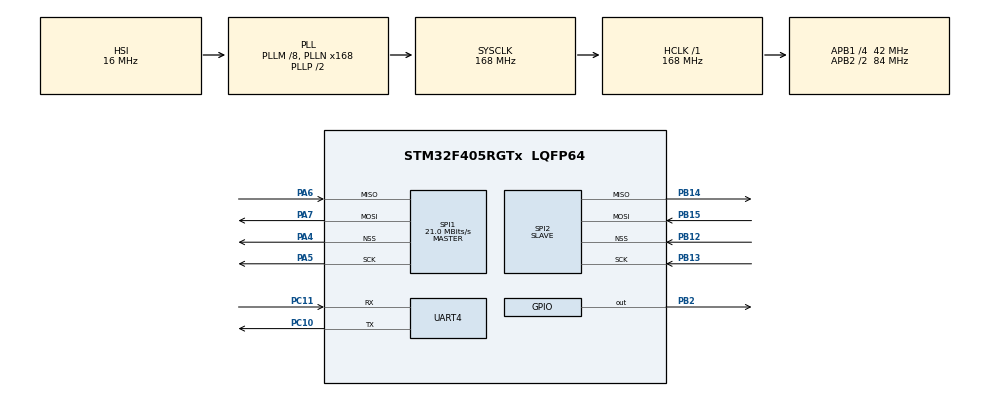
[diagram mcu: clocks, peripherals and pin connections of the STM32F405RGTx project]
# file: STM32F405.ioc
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Mcu.Family=STM32F4
Mcu.Name=STM32F405RGTx
Mcu.Package=LQFP64
NVIC.PriorityGroup=NVIC_PRIORITYGROUP_4
PA4.Mode=NSS_Signal_Hard_Output
PA4.Signal=SPI1_NSS
PA5.Mode=Full_Duplex_Master
PA5.Signal=SPI1_SCK
PA6.Mode=Full_Duplex_Master
PA6.Signal=SPI1_MISO
PA7.Mode=Full_Duplex_Master
PA7.Signal=SPI1_MOSI
PB12.Mode=NSS_Signal_Hard_Input
PB12.Signal=SPI2_NSS
PB13.Mode=Full_Duplex_Slave
PB13.Signal=SPI2_SCK
PB14.Mode=Full_Duplex_Slave
PB14.Signal=SPI2_MISO
PB15.Mode=Full_Duplex_Slave
PB15.Signal=SPI2_MOSI
PB2.Signal=GPIO_Output
PC10.Mode=Asynchronous
PC10.Signal=UART4_TX
PC11.Mode=Asynchronous
PC11.Signal=UART4_RX
PH0-OSC_IN.Mode=HSE-External-Clock-Source
PH0-OSC_IN.Signal=RCC_OSC_IN
PH1-OSC_OUT.Mode=HSE-External-Clock-Source
PH1-OSC_OUT.Signal=RCC_OSC_OUT
ProjectManager.HeapSize=0x200
ProjectManager.StackSize=0x400
ProjectManager.TargetToolchain=STM32CubeIDE
RCC.48MHZClocksFreq_Value=84000000
RCC.AHBFreq_Value=168000000
RCC.APB1CLKDivider=RCC_HCLK_DIV4
RCC.APB1Freq_Value=42000000
RCC.APB1TimFreq_Value=84000000
RCC.APB2CLKDivider=RCC_HCLK_DIV2
RCC.APB2Freq_Value=84000000
RCC.APB2TimFreq_Value=168000000
RCC.CortexFreq_Value=168000000
RCC.HCLKFreq_Value=168000000
RCC.HSE_VALUE=8000000
RCC.HSI_VALUE=16000000
RCC.LSE_VALUE=32768
RCC.PLLM=8
RCC.PLLN=168
RCC.SYSCLKFreq_VALUE=168000000
RCC.SYSCLKSource=RCC_SYSCLKSOURCE_PLLCLK
RCC.VCOOutputFreq_Value=336000000
SPI1.BaudRatePrescaler=SPI_BAUDRATEPRESCALER_4
SPI1.CalculateBaudRate=21.0 MBits/s
SPI1.Direction=SPI_DIRECTION_2LINES
SPI1.Mode=SPI_MODE_MASTER
SPI1.VirtualNSS=VM_NSSHARD
SPI1.VirtualType=VM_MASTER
SPI2.Direction=SPI_DIRECTION_2LINES
SPI2.Mode=SPI_MODE_SLAVE
SPI2.VirtualNSS=VM_NSSHARD
SPI2.VirtualType=VM_SLAVE
UART4.VirtualMode=Asynchronous
board=custom

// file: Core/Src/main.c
/* USER CODE BEGIN Header */
/**
  ******************************************************************************
  * @file           : main.c
  * @brief          : Main program body
  ******************************************************************************
  * @attention
  *
  * Copyright (c) 2026 STMicroelectronics.
  * All rights reserved.
  *
  * This software is licensed under terms that can be found in the LICENSE file
  * in the root directory of this software component.
  * If no LICENSE file comes with this software, it is provided AS-IS.
  *
  ******************************************************************************
  */
/* USER CODE END Header */
#include "main.h"
#include <stdio.h>
#include <string.h>

SPI_HandleTypeDef hspi1;
SPI_HandleTypeDef hspi2;

UART_HandleTypeDef huart4;

/* USER CODE BEGIN PV */
uint8_t rxData[4];
uint8_t txData[4];
char msg[64];
/* USER CODE END PV */

void SystemClock_Config(void);
static void MX_GPIO_Init(void);
static void MX_SPI1_Init(void);
static void MX_UART4_Init(void);
static void MX_SPI2_Init(void);

int main(void)
{

  /* MCU Configuration--------------------------------------------------------*/

  /* Reset of all peripherals, Initializes the Flash interface and the Systick. */
  HAL_Init();

  /* Configure the system clock */
  SystemClock_Config();

  /* Initialize all configured peripherals */
  MX_GPIO_Init();
  MX_SPI1_Init();
  MX_UART4_Init();
  MX_SPI2_Init();

  /* Infinite loop */
  while (1)
  {

    /* USER CODE BEGIN 3 */
	    // รอรับข้อมูลจาก SPI2 (Slave)
	    if (HAL_SPI_Receive(&hspi2, rxData, 4, HAL_MAX_DELAY) == HAL_OK)
	    {
	        // คัดลอกข้อมูล 4 Byte
	        txData[0] = rxData[0]+1;
	        txData[1] = rxData[1]+1;
	        txData[2] = rxData[2]+1;
	        txData[3] = rxData[3]+1;

	        // ส่งออก SPI1 ทั้งหมด 4 Byte
	        HAL_SPI_Transmit(&hspi1, txData, 4, HAL_MAX_DELAY);

	        // Debug
	        sprintf(msg,
	                "TX = %02X %02X %02X %02X\r\n",
	                txData[0]-1,
	                txData[1]-1,
	                txData[2]-1,
	                txData[3]-1);

	        HAL_UART_Transmit(&huart4,
	                          (uint8_t *)msg,
	                          strlen(msg),
	                          HAL_MAX_DELAY);
  }
  /* USER CODE END 3 */
}
}
void SystemClock_Config(void)
{
  RCC_OscInitTypeDef RCC_OscInitStruct = {0};
  RCC_ClkInitTypeDef RCC_ClkInitStruct = {0};

  /** Configure the main internal regulator output voltage
  */
  __HAL_RCC_PWR_CLK_ENABLE();
  __HAL_PWR_VOLTAGESCALING_CONFIG(PWR_REGULATOR_VOLTAGE_SCALE1);

  /** Initializes the RCC Oscillators according to the specified parameters
  * in the RCC_OscInitTypeDef structure.
  */
  RCC_OscInitStruct.OscillatorType = RCC_OSCILLATORTYPE_HSI;
  RCC_OscInitStruct.HSIState = RCC_HSI_ON;
  RCC_OscInitStruct.HSICalibrationValue = RCC_HSICALIBRATION_DEFAULT;
  RCC_OscInitStruct.PLL.PLLState = RCC_PLL_ON;
  RCC_OscInitStruct.PLL.PLLSource = RCC_PLLSOURCE_HSI;
  RCC_OscInitStruct.PLL.PLLM = 8;
  RCC_OscInitStruct.PLL.PLLN = 168;
  RCC_OscInitStruct.PLL.PLLP = RCC_PLLP_DIV2;
  RCC_OscInitStruct.PLL.PLLQ = 4;
  if (HAL_RCC_OscConfig(&RCC_OscInitStruct) != HAL_OK)
  {
    Error_Handler();
  }

  /** Initializes the CPU, AHB and APB buses clocks
  */
  RCC_ClkInitStruct.ClockType = RCC_CLOCKTYPE_HCLK|RCC_CLOCKTYPE_SYSCLK
                              |RCC_CLOCKTYPE_PCLK1|RCC_CLOCKTYPE_PCLK2;
  RCC_ClkInitStruct.SYSCLKSource = RCC_SYSCLKSOURCE_PLLCLK;
  RCC_ClkInitStruct.AHBCLKDivider = RCC_SYSCLK_DIV1;
  RCC_ClkInitStruct.APB1CLKDivider = RCC_HCLK_DIV4;
  RCC_ClkInitStruct.APB2CLKDivider = RCC_HCLK_DIV2;

  if (HAL_RCC_ClockConfig(&RCC_ClkInitStruct, FLASH_LATENCY_5) != HAL_OK)
  {
    Error_Handler();
  }
}

static void MX_SPI1_Init(void)
{

  /* SPI1 parameter configuration*/
  hspi1.Instance = SPI1;
  hspi1.Init.Mode = SPI_MODE_MASTER;
  hspi1.Init.Direction = SPI_DIRECTION_2LINES;
  hspi1.Init.DataSize = SPI_DATASIZE_8BIT;
  hspi1.Init.CLKPolarity = SPI_POLARITY_LOW;
  hspi1.Init.CLKPhase = SPI_PHASE_1EDGE;
  hspi1.Init.NSS = SPI_NSS_HARD_OUTPUT;
  hspi1.Init.BaudRatePrescaler = SPI_BAUDRATEPRESCALER_4;
  hspi1.Init.FirstBit = SPI_FIRSTBIT_MSB;
  hspi1.Init.TIMode = SPI_TIMODE_DISABLE;
  hspi1.Init.CRCCalculation = SPI_CRCCALCULATION_DISABLE;
  hspi1.Init.CRCPolynomial = 10;
  if (HAL_SPI_Init(&hspi1) != HAL_OK)
  {
    Error_Handler();
  }

}

static void MX_SPI2_Init(void)
{

  /* SPI2 parameter configuration*/
  hspi2.Instance = SPI2;
  hspi2.Init.Mode = SPI_MODE_SLAVE;
  hspi2.Init.Direction = SPI_DIRECTION_2LINES;
  hspi2.Init.DataSize = SPI_DATASIZE_8BIT;
  hspi2.Init.CLKPolarity = SPI_POLARITY_LOW;
  hspi2.Init.CLKPhase = SPI_PHASE_1EDGE;
  hspi2.Init.NSS = SPI_NSS_HARD_INPUT;
  hspi2.Init.FirstBit = SPI_FIRSTBIT_MSB;
  hspi2.Init.TIMode = SPI_TIMODE_DISABLE;
  hspi2.Init.CRCCalculation = SPI_CRCCALCULATION_DISABLE;
  hspi2.Init.CRCPolynomial = 10;
  if (HAL_SPI_Init(&hspi2) != HAL_OK)
  {
    Error_Handler();
  }

}

static void MX_UART4_Init(void)
{

  huart4.Instance = UART4;
  huart4.Init.BaudRate = 115200;
  huart4.Init.WordLength = UART_WORDLENGTH_8B;
  huart4.Init.StopBits = UART_STOPBITS_1;
  huart4.Init.Parity = UART_PARITY_NONE;
  huart4.Init.Mode = UART_MODE_TX_RX;
  huart4.Init.HwFlowCtl = UART_HWCONTROL_NONE;
  huart4.Init.OverSampling = UART_OVERSAMPLING_16;
  if (HAL_UART_Init(&huart4) != HAL_OK)
  {
    Error_Handler();
  }

}

static void MX_GPIO_Init(void)
{
  GPIO_InitTypeDef GPIO_InitStruct = {0};

  /* GPIO Ports Clock Enable */
  __HAL_RCC_GPIOH_CLK_ENABLE();
  __HAL_RCC_GPIOA_CLK_ENABLE();
  __HAL_RCC_GPIOB_CLK_ENABLE();
  __HAL_RCC_GPIOC_CLK_ENABLE();

  /*Configure GPIO pin Output Level */
  HAL_GPIO_WritePin(GPIOB, GPIO_PIN_2, GPIO_PIN_RESET);

  /*Configure GPIO pin : PB2 */
  GPIO_InitStruct.Pin = GPIO_PIN_2;
  GPIO_InitStruct.Mode = GPIO_MODE_OUTPUT_PP;
  GPIO_InitStruct.Pull = GPIO_NOPULL;
  GPIO_InitStruct.Speed = GPIO_SPEED_FREQ_LOW;
  HAL_GPIO_Init(GPIOB, &GPIO_InitStruct);

}

void Error_Handler(void)
{
  __disable_irq();
  while (1)
  {
  }
}
